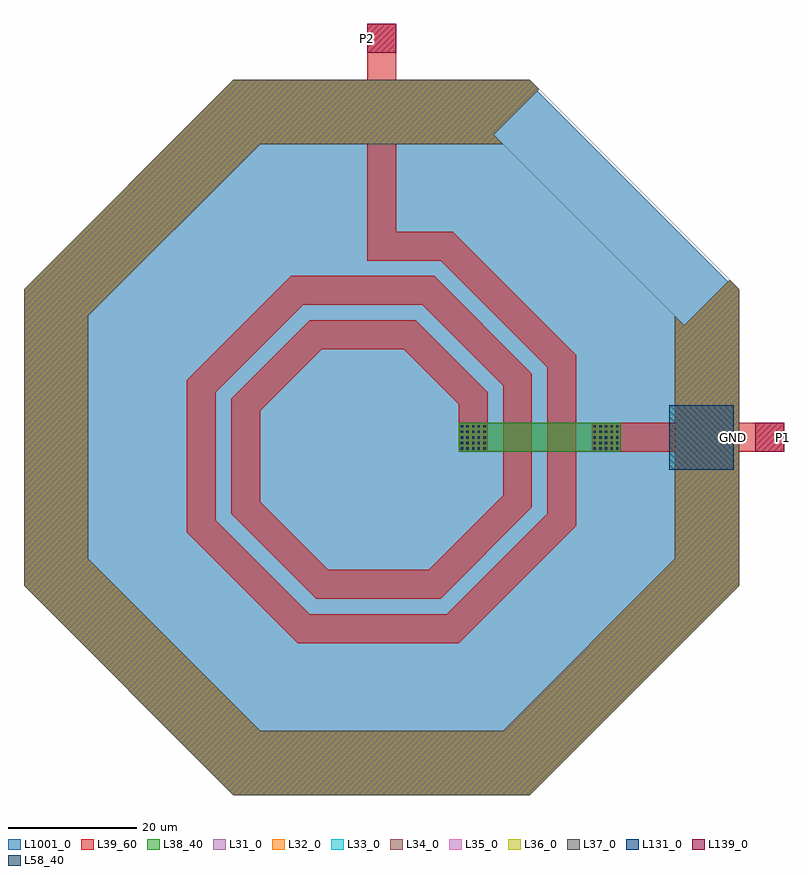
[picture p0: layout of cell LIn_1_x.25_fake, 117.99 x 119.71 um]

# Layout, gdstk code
import gdstk
lib = gdstk.Library(unit=1e-6, precision=1e-09)
def R(c, l, rs):  # rectangles x0, y0, x1, y1
    for r in rs: c.add(gdstk.rectangle(r[:2], r[2:], *l))
def A(c, l, x, y, w, h, nx, ny, dx, dy):  # array of equal rectangles
    R(c, l, [(x+i*dx, y+j*dy, x+i*dx+w, y+j*dy+h) for i in range(nx) for j in range(ny)])
def P(c, l, *ps):  # polygons
    for p in ps: c.add(gdstk.Polygon(p, *l))
L31_0 = (31, 0)
L32_0 = (32, 0)
L33_0 = (33, 0)
L34_0 = (34, 0)
L35_0 = (35, 0)
L36_0 = (36, 0)
L37_0 = (37, 0)
L38_40 = (38, 40)
L39_60 = (39, 60)
L58_40 = (58, 40)
L131_0 = (131, 0)
L139_0 = (139, 0)
L1001_0 = (1001, 0)

lin_1_x_25_fake = lib.new_cell('LIn_1_x.25_fake')
P(lin_1_x_25_fake, L31_0, [(46.989,17.392),(54.06,24.463),(22.999,55.524),(-22.999,55.524),(-55.524,22.999),(-55.524,-22.999),(-22.999,-55.524),(22.999,-55.524),(55.524,-22.999),(55.524,22.999),(24.463,54.06),(17.392,46.989),(45.524,18.857),(45.524,-18.857),(18.857,-45.524),(-18.857,-45.524),(-45.524,-18.857),(-45.524,18.857),(-18.857,45.524),(18.857,45.524)])
P(lin_1_x_25_fake, L32_0, [(46.989,17.392),(54.06,24.463),(22.999,55.524),(-22.999,55.524),(-55.524,22.999),(-55.524,-22.999),(-22.999,-55.524),(22.999,-55.524),(55.524,-22.999),(55.524,22.999),(24.463,54.06),(17.392,46.989),(45.524,18.857),(45.524,-18.857),(18.857,-45.524),(-18.857,-45.524),(-45.524,-18.857),(-45.524,18.857),(-18.857,45.524),(18.857,45.524)])
P(lin_1_x_25_fake, L33_0, [(46.989,17.392),(54.06,24.463),(22.999,55.524),(-22.999,55.524),(-55.524,22.999),(-55.524,-22.999),(-22.999,-55.524),(22.999,-55.524),(55.524,-22.999),(55.524,22.999),(24.463,54.06),(17.392,46.989),(45.524,18.857),(45.524,-18.857),(18.857,-45.524),(-18.857,-45.524),(-45.524,-18.857),(-45.524,18.857),(-18.857,45.524),(18.857,45.524)])
P(lin_1_x_25_fake, L34_0, [(46.989,17.392),(54.06,24.463),(22.999,55.524),(-22.999,55.524),(-55.524,22.999),(-55.524,-22.999),(-22.999,-55.524),(22.999,-55.524),(55.524,-22.999),(55.524,22.999),(24.463,54.06),(17.392,46.989),(45.524,18.857),(45.524,-18.857),(18.857,-45.524),(-18.857,-45.524),(-45.524,-18.857),(-45.524,18.857),(-18.857,45.524),(18.857,45.524)])
P(lin_1_x_25_fake, L35_0, [(46.989,17.392),(54.06,24.463),(22.999,55.524),(-22.999,55.524),(-55.524,22.999),(-55.524,-22.999),(-22.999,-55.524),(22.999,-55.524),(55.524,-22.999),(55.524,22.999),(24.463,54.06),(17.392,46.989),(45.524,18.857),(45.524,-18.857),(18.857,-45.524),(-18.857,-45.524),(-45.524,-18.857),(-45.524,18.857),(-18.857,45.524),(18.857,45.524)])
P(lin_1_x_25_fake, L36_0, [(46.989,17.392),(54.06,24.463),(22.999,55.524),(-22.999,55.524),(-55.524,22.999),(-55.524,-22.999),(-22.999,-55.524),(22.999,-55.524),(55.524,-22.999),(55.524,22.999),(24.463,54.06),(17.392,46.989),(45.524,18.857),(45.524,-18.857),(18.857,-45.524),(-18.857,-45.524),(-45.524,-18.857),(-45.524,18.857),(-18.857,45.524),(18.857,45.524)])
P(lin_1_x_25_fake, L37_0, [(46.989,17.392),(54.06,24.463),(22.999,55.524),(-22.999,55.524),(-55.524,22.999),(-55.524,-22.999),(-22.999,-55.524),(22.999,-55.524),(55.524,-22.999),(55.524,22.999),(24.463,54.06),(17.392,46.989),(45.524,18.857),(45.524,-18.857),(18.857,-45.524),(-18.857,-45.524),(-45.524,-18.857),(-45.524,18.857),(-18.857,45.524),(18.857,45.524)])
R(lin_1_x_25_fake, L38_40, [(11.97,-2.25,37.095,2.25)])
P(lin_1_x_25_fake, L38_40, [(46.989,17.392),(54.06,24.463),(22.999,55.524),(-22.999,55.524),(-55.524,22.999),(-55.524,-22.999),(-22.999,-55.524),(22.999,-55.524),(55.524,-22.999),(55.524,22.999),(24.463,54.06),(17.392,46.989),(45.524,18.857),(45.524,-18.857),(18.857,-45.524),(-18.857,-45.524),(-45.524,-18.857),(-45.524,18.857),(-18.857,45.524),(18.857,45.524)])
R(lin_1_x_25_fake, L39_60, [(32.595,-2.25,62.47,2.25), (-2.25,27.435,2.25,64.185)])
P(lin_1_x_25_fake, L39_60, [(11.97,-2.25),(16.47,-2.25),(16.47,7.032),(5.312,18.185),(-11.177,18.185),(-23.345,6.022),(-23.345,-11.892),(-10.172,-25.06),(9.167,-25.06),(23.345,-10.882),(23.345,9.877),(8.157,25.06),(-14.027,25.06),(-30.22,8.872),(-30.22,-14.737),(-13.022,-31.935),(12.012,-31.935),(30.22,-13.732),(30.22,12.727),(11.007,31.935),(0,31.935),(0,27.435),(9.143,27.435),(25.72,10.863),(25.72,-11.868),(10.148,-27.435),(-11.158,-27.435),(-25.72,-12.873),(-25.72,7.008),(-12.163,20.56),(6.293,20.56),(18.845,8.013),(18.845,-9.018),(7.303,-20.56),(-8.308,-20.56),(-18.845,-10.028),(-18.845,4.158),(-9.313,13.685),(3.448,13.685),(11.97,5.168)],
  [(46.989,17.392),(54.06,24.463),(22.999,55.524),(-22.999,55.524),(-55.524,22.999),(-55.524,-22.999),(-22.999,-55.524),(22.999,-55.524),(55.524,-22.999),(55.524,22.999),(24.463,54.06),(17.392,46.989),(45.524,18.857),(45.524,-18.857),(18.857,-45.524),(-18.857,-45.524),(-45.524,-18.857),(-45.524,18.857),(-18.857,45.524),(18.857,45.524)])
A(lin_1_x_25_fake, L58_40, 12.303, -1.915, 0.35, 0.35, 5, 5, 0.87, 0.87)
A(lin_1_x_25_fake, L58_40, 32.928, -1.915, 0.35, 0.35, 5, 5, 0.87, 0.87)
R(lin_1_x_25_fake, L131_0, [(44.685,-5,54.685,5)])
R(lin_1_x_25_fake, L139_0, [(57.97,-2.25,62.47,2.25), (-2.25,59.685,2.25,64.185)])
P(lin_1_x_25_fake, L1001_0, [(55.144,22.841),(22.841,55.144),(-22.841,55.144),(-55.144,22.841),(-55.144,-22.841),(-22.841,-55.144),(22.841,-55.144),(55.144,-22.841)],
  [(55.144,22.841),(22.841,55.144),(-22.841,55.144),(-55.144,22.841),(-55.144,-22.841),(-22.841,-55.144),(22.841,-55.144),(55.144,-22.841)],
  [(55.144,22.841),(22.841,55.144),(-22.841,55.144),(-55.144,22.841),(-55.144,-22.841),(-22.841,-55.144),(22.841,-55.144),(55.144,-22.841)],
  [(55.144,22.841),(22.841,55.144),(-22.841,55.144),(-55.144,22.841),(-55.144,-22.841),(-22.841,-55.144),(22.841,-55.144),(55.144,-22.841)],
  [(55.144,22.841),(22.841,55.144),(-22.841,55.144),(-55.144,22.841),(-55.144,-22.841),(-22.841,-55.144),(22.841,-55.144),(55.144,-22.841)],
  [(55.144,22.841),(22.841,55.144),(-22.841,55.144),(-55.144,22.841),(-55.144,-22.841),(-22.841,-55.144),(22.841,-55.144),(55.144,-22.841)],
  [(55.144,22.841),(22.841,55.144),(-22.841,55.144),(-55.144,22.841),(-55.144,-22.841),(-22.841,-55.144),(22.841,-55.144),(55.144,-22.841)],
  [(55.144,22.841),(22.841,55.144),(-22.841,55.144),(-55.144,22.841),(-55.144,-22.841),(-22.841,-55.144),(22.841,-55.144),(55.144,-22.841)],
  [(55.144,22.841),(22.841,55.144),(-22.841,55.144),(-55.144,22.841),(-55.144,-22.841),(-22.841,-55.144),(22.841,-55.144),(55.144,-22.841)])
lin_1_x_25_fake.add(gdstk.Label('P1', (62.468,0), layer=139, texttype=0))
lin_1_x_25_fake.add(gdstk.Label('P2', (-2.25,61.937), layer=139, texttype=0))
lin_1_x_25_fake.add(gdstk.Label('GND', (54.687,0), layer=131, texttype=0))

lib.write_gds('LIn_1_x.25_fake.gds')
